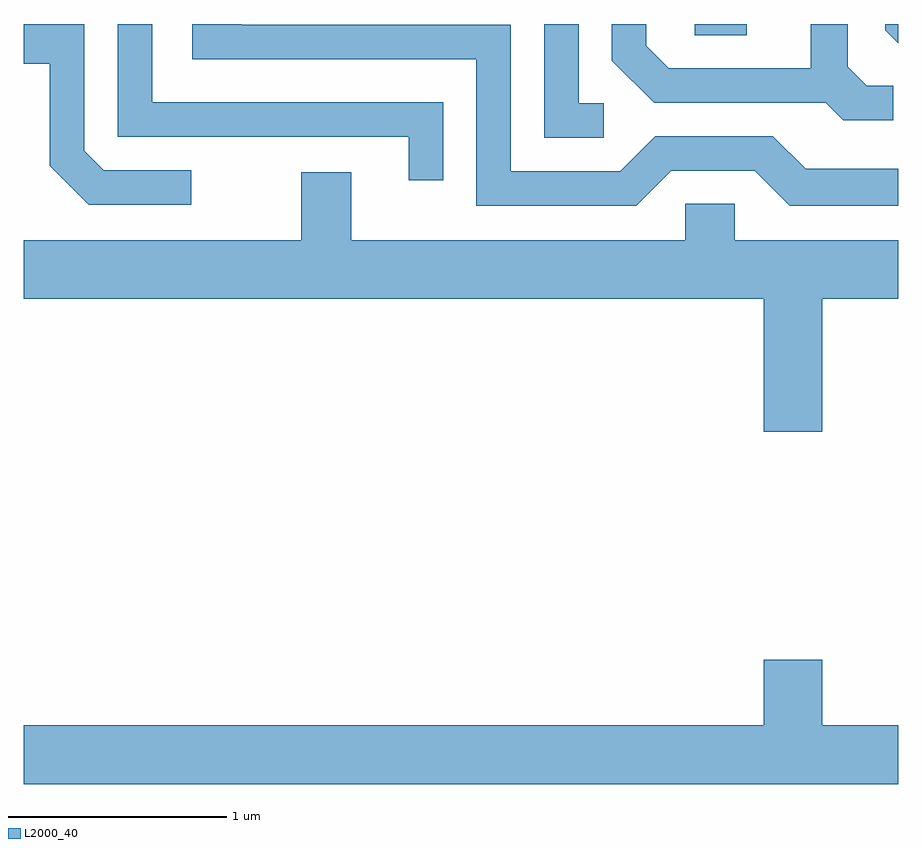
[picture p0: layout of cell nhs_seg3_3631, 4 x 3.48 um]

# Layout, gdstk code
import gdstk
lib = gdstk.Library(unit=1e-6, precision=1e-09)
def R(c, l, rs):  # rectangles x0, y0, x1, y1
    for r in rs: c.add(gdstk.rectangle(r[:2], r[2:], *l))
def P(c, l, *ps):  # polygons
    for p in ps: c.add(gdstk.Polygon(p, *l))
L2000_40 = (2000, 40)

nhs_seg3_3631 = lib.new_cell('nhs_seg3_3631')
R(nhs_seg3_3631, L2000_40, [(294.681,1173.841,294.919,1173.892)])
P(nhs_seg3_3631, L2000_40, [(294.572,1173.221),(294.954,1173.221),(295.114,1173.061),(295.611,1173.061),(295.611,1173.229),(295.187,1173.229),(295.037,1173.379),(294.499,1173.379),(294.339,1173.219),(293.839,1173.219),(293.839,1173.889),(292.609,1173.889),(292.609,1173.892),(292.381,1173.892),(292.381,1173.731),(293.681,1173.731),(293.681,1173.061),(294.412,1173.061)],
  [(295.611,1173.892),(295.551,1173.892),(295.551,1173.864),(295.611,1173.804)],
  [(294.263,1173.529),(294.149,1173.529),(294.149,1173.892),(293.991,1173.892),(293.991,1173.371),(294.263,1173.371)],
  [(293.529,1173.534),(292.199,1173.534),(292.199,1173.892),(292.041,1173.892),(292.041,1173.376),(293.371,1173.376),(293.371,1173.178),(293.529,1173.178)],
  [(295.588,1173.609),(295.467,1173.609),(295.379,1173.697),(295.379,1173.892),(295.211,1173.892),(295.211,1173.689),(294.562,1173.689),(294.459,1173.792),(294.459,1173.892),(294.301,1173.892),(294.301,1173.724),(294.494,1173.531),(295.279,1173.531),(295.359,1173.451),(295.588,1173.451)],
  [(292.378,1173.224),(291.977,1173.224),(291.889,1173.312),(291.889,1173.892),(291.611,1173.892),(291.611,1173.711),(291.731,1173.711),(291.731,1173.244),(291.909,1173.066),(292.378,1173.066)],
  [(295.264,1172.636),(295.611,1172.636),(295.611,1172.904),(294.864,1172.904),(294.864,1173.069),(294.636,1173.069),(294.636,1172.904),(293.109,1172.904),(293.109,1173.214),(292.881,1173.214),(292.881,1172.904),(291.611,1172.904),(291.611,1172.636),(294.996,1172.636),(294.996,1172.026),(295.264,1172.026)],
  [(295.611,1170.684),(295.264,1170.684),(295.264,1170.984),(294.996,1170.984),(294.996,1170.684),(291.611,1170.684),(291.611,1170.416),(295.611,1170.416)])

lib.write_gds('nhs_seg3_3631.gds')
